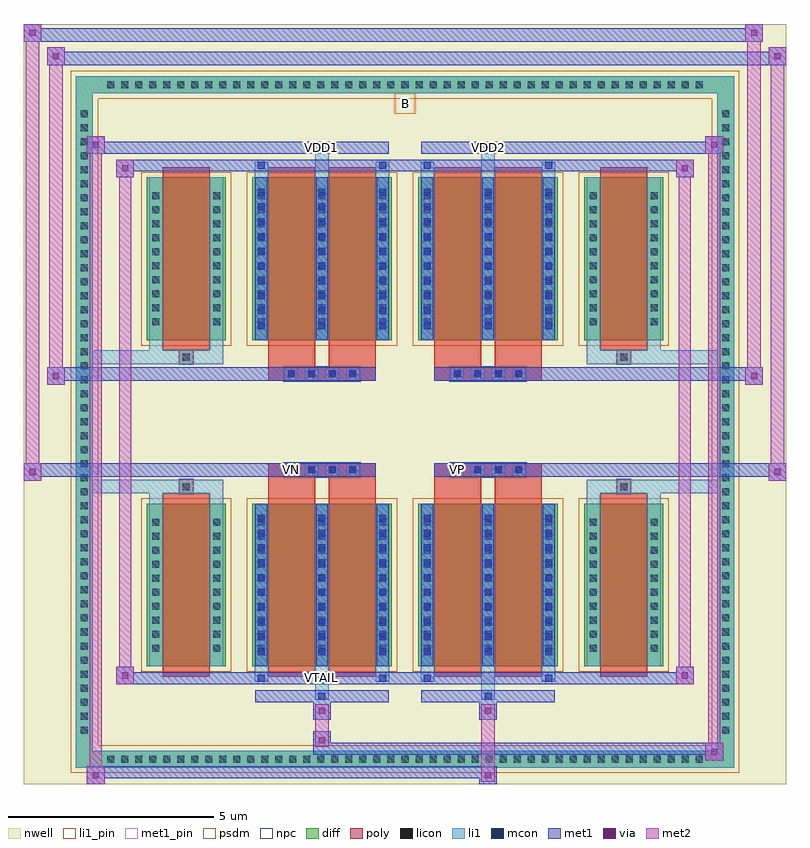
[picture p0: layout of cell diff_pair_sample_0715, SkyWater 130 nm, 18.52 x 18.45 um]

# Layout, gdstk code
import gdstk
lib = gdstk.Library(unit=1e-6, precision=5e-09)
def R(c, l, rs):  # rectangles x0, y0, x1, y1
    for r in rs: c.add(gdstk.rectangle(r[:2], r[2:], *l))
def A(c, l, x, y, w, h, nx, ny, dx, dy):  # array of equal rectangles
    R(c, l, [(x+i*dx, y+j*dy, x+i*dx+w, y+j*dy+h) for i in range(nx) for j in range(ny)])
def P(c, l, *ps):  # polygons
    for p in ps: c.add(gdstk.Polygon(p, *l))
nwell = (64, 20)
diff = (65, 20)
poly = (66, 20)
licon = (66, 44)
li1_pin = (67, 16)
li1 = (67, 20)
mcon = (67, 44)
met1_pin = (68, 16)
met1 = (68, 20)
via = (68, 44)
met2 = (69, 20)
psdm = (94, 20)
npc = (95, 20)

diff_pair_sample_0715 = lib.new_cell('diff_pair_sample_0715')
R(diff_pair_sample_0715, nwell, [(-9.26,-8.79,9.26,9.66), (-6.58,-6.98,-0.01,-0.8), (0.01,-6.98,6.58,-0.8), (-6.58,0.8,-0.01,6.98), (0.01,0.8,6.58,6.98)])
A(diff_pair_sample_0715, diff, -7.345, -8.39, 0.41, 0.41, 43, 2, 0.34, 16.37)
A(diff_pair_sample_0715, diff, -7.99, -7.685, 0.41, 0.41, 1, 45, 0, 0.34)
A(diff_pair_sample_0715, diff, 7.58, -7.685, 0.41, 0.41, 1, 45, 0, 0.34)
R(diff_pair_sample_0715, diff, [(-7.345,-8.39,7.345,-7.98), (-7.99,-7.685,-7.58,7.685), (7.58,-7.685,7.99,7.685), (-6.27,-5.935,-4.35,-1.985), (-3.71,-5.935,-0.32,-1.985), (0.32,-5.935,3.71,-1.985), (4.35,-5.935,6.27,-1.985), (-6.27,1.985,-4.35,5.935), (-3.71,1.985,-0.32,5.935), (0.32,1.985,3.71,5.935), (4.35,1.985,6.27,5.935), (-7.345,7.98,7.345,8.39)])
P(diff_pair_sample_0715, diff, [(7.99,8.39),(-7.99,8.39),(-7.99,-7.98),(-7.58,-7.98),(-7.58,7.98),(7.58,7.98),(7.58,-7.98),(-7.58,-7.98),(-7.99,-7.98),(-7.99,-8.39),(7.99,-8.39)])
A(diff_pair_sample_0715, poly, -2.93, -1.33, 0.33, 0.33, 4, 2, 0.5, 2.33)
A(diff_pair_sample_0715, poly, 1.1, -1.33, 0.33, 0.33, 4, 2, 0.5, 2.33)
R(diff_pair_sample_0715, poly, [(-5.88,-6.185,-4.74,-1.735), (-3.32,-6.185,-2.18,-1.735), (-1.85,-6.185,-0.71,-1.735), (0.71,-6.185,1.85,-1.735), (2.18,-6.185,3.32,-1.735), (4.74,-6.185,5.88,-1.735), (-5.475,-1.735,-5.145,-1.405), (-5.475,-1.735,-5.145,-1.405), (-3.32,-1.735,-2.18,-1.33), (-1.85,-1.735,-0.71,-1.33), (0.71,-1.735,1.85,-1.33), (2.18,-1.735,3.32,-1.33), (5.145,-1.735,5.475,-1.405), (5.145,-1.735,5.475,-1.405), (-3.32,-1.33,-0.71,-1), (0.71,-1.33,3.32,-1), (-3.32,1,-0.71,1.33), (0.71,1,3.32,1.33), (-3.32,1.33,-2.18,1.735), (-1.85,1.33,-0.71,1.735), (0.71,1.33,1.85,1.735), (2.18,1.33,3.32,1.735), (-5.475,1.405,-5.145,1.735), (-5.475,1.405,-5.145,1.735), (5.145,1.405,5.475,1.735), (5.145,1.405,5.475,1.735), (-5.88,1.735,-4.74,6.185), (-3.32,1.735,-2.18,6.185), (-1.85,1.735,-0.71,6.185), (0.71,1.735,1.85,6.185), (2.18,1.735,3.32,6.185), (4.74,1.735,5.88,6.185)])
A(diff_pair_sample_0715, licon, -7.225, -8.27, 0.17, 0.17, 43, 2, 0.34, 16.37)
A(diff_pair_sample_0715, licon, -7.87, -7.565, 0.17, 0.17, 1, 45, 0, 0.34)
A(diff_pair_sample_0715, licon, 7.7, -7.565, 0.17, 0.17, 1, 45, 0, 0.34)
A(diff_pair_sample_0715, licon, -6.13, -5.575, 0.17, 0.17, 1, 10, 0, 0.34)
A(diff_pair_sample_0715, licon, -4.66, -5.575, 0.17, 0.17, 1, 10, 0, 0.34)
A(diff_pair_sample_0715, licon, -3.57, -5.575, 0.17, 0.17, 3, 10, 1.47, 0.34)
A(diff_pair_sample_0715, licon, 0.46, -5.575, 0.17, 0.17, 3, 10, 1.47, 0.34)
A(diff_pair_sample_0715, licon, 4.49, -5.575, 0.17, 0.17, 1, 10, 0, 0.34)
A(diff_pair_sample_0715, licon, 5.96, -5.575, 0.17, 0.17, 1, 10, 0, 0.34)
A(diff_pair_sample_0715, licon, -2.85, -1.25, 0.17, 0.17, 4, 2, 0.5, 2.33)
A(diff_pair_sample_0715, licon, 1.18, -1.25, 0.17, 0.17, 4, 2, 0.5, 2.33)
A(diff_pair_sample_0715, licon, -6.13, 2.345, 0.17, 0.17, 1, 10, 0, 0.34)
A(diff_pair_sample_0715, licon, -4.66, 2.345, 0.17, 0.17, 1, 10, 0, 0.34)
A(diff_pair_sample_0715, licon, -3.57, 2.345, 0.17, 0.17, 3, 10, 1.47, 0.34)
A(diff_pair_sample_0715, licon, 0.46, 2.345, 0.17, 0.17, 3, 10, 1.47, 0.34)
A(diff_pair_sample_0715, licon, 4.49, 2.345, 0.17, 0.17, 1, 10, 0, 0.34)
A(diff_pair_sample_0715, licon, 5.96, 2.345, 0.17, 0.17, 1, 10, 0, 0.34)
R(diff_pair_sample_0715, licon, [(-5.395,-1.655,-5.225,-1.485), (5.225,-1.655,5.395,-1.485), (-5.395,1.485,-5.225,1.655), (5.225,1.485,5.395,1.655)])
R(diff_pair_sample_0715, li1_pin, [(-0.25,7.48,0.25,7.98)])
A(diff_pair_sample_0715, li1, -7.305, -8.35, 0.33, 0.33, 43, 2, 0.34, 16.37)
A(diff_pair_sample_0715, li1, -7.95, -7.645, 0.33, 0.33, 1, 45, 0, 0.34)
A(diff_pair_sample_0715, li1, 7.62, -7.645, 0.33, 0.33, 1, 45, 0, 0.34)
A(diff_pair_sample_0715, li1, -3.65, -5.935, 0.33, 3.95, 3, 2, 1.47, 7.92)
A(diff_pair_sample_0715, li1, 0.38, -5.935, 0.33, 3.95, 3, 2, 1.47, 7.92)
A(diff_pair_sample_0715, li1, -3.57, -5.665, 0.17, 0.17, 3, 10, 1.47, 0.36)
A(diff_pair_sample_0715, li1, -3.57, -5.665, 0.17, 3.41, 3, 2, 1.47, 7.92)
A(diff_pair_sample_0715, li1, 0.46, -5.665, 0.17, 0.17, 3, 10, 1.47, 0.36)
A(diff_pair_sample_0715, li1, 0.46, -5.665, 0.17, 3.41, 3, 2, 1.47, 7.92)
A(diff_pair_sample_0715, li1, -6.21, -5.655, 0.33, 0.33, 1, 10, 0, 0.34)
A(diff_pair_sample_0715, li1, -4.74, -5.655, 0.33, 0.33, 1, 10, 0, 0.34)
A(diff_pair_sample_0715, li1, -3.65, -5.655, 0.33, 0.33, 3, 10, 1.47, 0.34)
A(diff_pair_sample_0715, li1, 0.38, -5.655, 0.33, 0.33, 3, 10, 1.47, 0.34)
A(diff_pair_sample_0715, li1, 4.41, -5.655, 0.33, 0.33, 1, 10, 0, 0.34)
A(diff_pair_sample_0715, li1, 5.88, -5.655, 0.33, 0.33, 1, 10, 0, 0.34)
A(diff_pair_sample_0715, li1, -2.93, -1.33, 0.33, 0.33, 4, 2, 0.5, 2.33)
A(diff_pair_sample_0715, li1, 1.1, -1.33, 0.33, 0.33, 4, 2, 0.5, 2.33)
A(diff_pair_sample_0715, li1, -3.57, 2.255, 0.17, 0.17, 3, 10, 1.47, 0.36)
A(diff_pair_sample_0715, li1, 0.46, 2.255, 0.17, 0.17, 3, 10, 1.47, 0.36)
A(diff_pair_sample_0715, li1, -6.21, 2.265, 0.33, 0.33, 1, 10, 0, 0.34)
A(diff_pair_sample_0715, li1, -4.74, 2.265, 0.33, 0.33, 1, 10, 0, 0.34)
A(diff_pair_sample_0715, li1, -3.65, 2.265, 0.33, 0.33, 3, 10, 1.47, 0.34)
A(diff_pair_sample_0715, li1, 0.38, 2.265, 0.33, 0.33, 3, 10, 1.47, 0.34)
A(diff_pair_sample_0715, li1, 4.41, 2.265, 0.33, 0.33, 1, 10, 0, 0.34)
A(diff_pair_sample_0715, li1, 5.88, 2.265, 0.33, 0.33, 1, 10, 0, 0.34)
R(diff_pair_sample_0715, li1, [(-7.99,-8.39,-7.58,-7.98), (-7.99,-8.39,-7.58,-7.98), (-7.58,-8.39,7.58,-7.98), (7.58,-8.39,7.99,-7.98), (7.58,-8.39,7.99,-7.98), (-7.99,-7.98,-7.58,7.98), (7.58,-7.98,7.99,7.98), (-2.18,-6.74,-1.85,-5.935), (-2.1,-6.74,-1.93,-6.57), (1.85,-6.74,2.18,-5.935), (1.93,-6.74,2.1,-6.57), (-3.65,-6.31,-3.32,-5.935), (-3.57,-6.31,-3.4,-6.14), (-0.71,-6.31,-0.38,-5.935), (-0.63,-6.31,-0.46,-6.14), (0.38,-6.31,0.71,-5.935), (0.46,-6.31,0.63,-6.14), (3.32,-6.31,3.65,-5.935), (3.4,-6.31,3.57,-6.14), (-6.21,-5.935,-5.88,-1.985), (-4.74,-5.935,-4.41,-1.985), (4.41,-5.935,4.74,-1.985), (5.88,-5.935,6.21,-1.985), (-6.21,-1.985,-5.88,-1.405), (-4.74,-1.985,-4.41,-1.405), (4.41,-1.985,4.74,-1.405), (5.88,-1.985,6.21,-1.405), (-7.99,-1.735,-5.475,-1.405), (-6.21,-1.735,-5.475,-1.405), (-5.475,-1.735,-5.145,-1.405), (-5.145,-1.735,-4.41,-1.405), (4.41,-1.735,5.145,-1.405), (5.145,-1.735,5.475,-1.405), (5.145,-1.735,7.99,-1.405), (5.475,-1.735,6.21,-1.405), (-7.99,1.405,-5.475,1.735), (-6.21,1.405,-5.475,1.735), (-6.21,1.405,-5.88,1.985), (-5.475,1.405,-5.145,1.735), (-5.145,1.405,-4.41,1.735), (-4.74,1.405,-4.41,1.985), (4.41,1.405,5.145,1.735), (4.41,1.405,4.74,1.985), (5.145,1.405,5.475,1.735), (5.145,1.405,7.99,1.735), (5.475,1.405,6.21,1.735), (5.88,1.405,6.21,1.985), (-6.21,1.985,-5.88,5.935), (-4.74,1.985,-4.41,5.935), (4.41,1.985,4.74,5.935), (5.88,1.985,6.21,5.935), (-3.65,5.935,-3.32,6.31), (-2.18,5.935,-1.85,6.74), (-0.71,5.935,-0.38,6.31), (0.38,5.935,0.71,6.31), (1.85,5.935,2.18,6.74), (3.32,5.935,3.65,6.31), (-3.57,6.14,-3.4,6.31), (-0.63,6.14,-0.46,6.31), (0.46,6.14,0.63,6.31), (3.4,6.14,3.57,6.31), (-2.1,6.57,-1.93,6.74), (1.93,6.57,2.1,6.74), (-7.99,7.98,-7.58,8.39), (-7.99,7.98,-7.58,8.39), (-7.58,7.98,7.58,8.39), (7.58,7.98,7.99,8.39), (7.58,7.98,7.99,8.39)])
A(diff_pair_sample_0715, mcon, -3.57, -5.665, 0.17, 0.17, 3, 10, 1.47, 0.36)
A(diff_pair_sample_0715, mcon, 0.46, -5.665, 0.17, 0.17, 3, 10, 1.47, 0.36)
A(diff_pair_sample_0715, mcon, -2.85, -1.25, 0.17, 0.17, 4, 2, 0.5, 2.33)
A(diff_pair_sample_0715, mcon, 1.18, -1.25, 0.17, 0.17, 4, 2, 0.5, 2.33)
A(diff_pair_sample_0715, mcon, -3.57, 2.255, 0.17, 0.17, 3, 10, 1.47, 0.36)
A(diff_pair_sample_0715, mcon, 0.46, 2.255, 0.17, 0.17, 3, 10, 1.47, 0.36)
R(diff_pair_sample_0715, mcon, [(-2.1,-6.74,-1.93,-6.57), (1.93,-6.74,2.1,-6.57), (-3.57,-6.31,-3.4,-6.14), (-0.63,-6.31,-0.46,-6.14), (0.46,-6.31,0.63,-6.14), (3.4,-6.31,3.57,-6.14), (-3.57,6.14,-3.4,6.31), (-0.63,6.14,-0.46,6.31), (0.46,6.14,0.63,6.31), (3.4,6.14,3.57,6.31), (-2.1,6.57,-1.93,6.74), (1.93,6.57,2.1,6.74)])
R(diff_pair_sample_0715, met1_pin, [(-2.15,-6.35,-1.88,-6.08), (-2.9,-1.29,-2.63,-1.02), (1.13,-1.29,1.4,-1.02), (-2.15,6.53,-1.88,6.8), (1.88,6.53,2.15,6.8)])
A(diff_pair_sample_0715, met1, -3.63, -5.935, 0.29, 3.95, 3, 2, 1.47, 7.92)
A(diff_pair_sample_0715, met1, 0.4, -5.935, 0.29, 3.95, 3, 2, 1.47, 7.92)
A(diff_pair_sample_0715, met1, -3.63, -5.725, 0.29, 0.29, 3, 10, 1.47, 0.36)
A(diff_pair_sample_0715, met1, 0.4, -5.725, 0.29, 0.29, 3, 10, 1.47, 0.36)
A(diff_pair_sample_0715, met1, -2.91, -1.31, 0.29, 0.29, 4, 2, 0.5, 2.33)
A(diff_pair_sample_0715, met1, 1.12, -1.31, 0.29, 0.29, 4, 2, 0.5, 2.33)
A(diff_pair_sample_0715, met1, -3.63, 2.195, 0.29, 0.29, 3, 10, 1.47, 0.36)
A(diff_pair_sample_0715, met1, 0.4, 2.195, 0.29, 0.29, 3, 10, 1.47, 0.36)
R(diff_pair_sample_0715, met1, [(-7.72,-8.79,-7.29,-8.36), (1.8,-8.79,2.23,-8.36), (-7.72,-8.65,2.23,-8.36), (7.29,-8.22,7.72,-7.79), (-2.23,-8.08,7.72,-7.79), (-2.23,-7.94,-1.8,-7.51), (-2.23,-7.23,-1.8,-6.8), (1.8,-7.23,2.23,-6.8), (-3.63,-6.8,-0.4,-6.51), (-2.16,-6.8,-1.87,-6.51), (0.4,-6.8,3.63,-6.51), (1.87,-6.8,2.16,-6.51), (-7.01,-6.37,-6.58,-5.94), (-7.01,-6.37,-3.63,-6.08), (-3.63,-6.37,-3.34,-6.08), (-3.63,-6.37,-0.4,-6.08), (-0.69,-6.37,-0.4,-6.08), (-0.4,-6.37,0.4,-6.08), (0.4,-6.37,0.69,-6.08), (0.4,-6.37,3.63,-6.08), (3.34,-6.37,3.63,-6.08), (3.63,-6.37,7.01,-6.08), (6.58,-6.37,7.01,-5.94), (-9.26,-1.43,-8.83,-1), (8.83,-1.43,9.26,-1), (-9.26,-1.33,-0.71,-1), (-3.32,-1.33,-0.71,-1), (0.71,-1.33,3.32,-1), (0.71,-1.33,9.26,-1), (-8.69,0.9,-8.26,1.33), (8.26,0.9,8.69,1.33), (-8.69,1,-3.32,1.33), (-3.32,1,-0.71,1.33), (0.71,1,3.32,1.33), (3.32,1,8.69,1.33), (-7.01,5.94,-6.58,6.37), (6.58,5.94,7.01,6.37), (-7.01,6.08,-3.63,6.37), (-3.63,6.08,-3.34,6.37), (-3.63,6.08,-0.4,6.37), (-0.69,6.08,-0.4,6.37), (-0.4,6.08,0.4,6.37), (0.4,6.08,0.69,6.37), (0.4,6.08,3.63,6.37), (3.34,6.08,3.63,6.37), (3.63,6.08,7.01,6.37), (-7.72,6.51,-7.29,6.94), (-7.72,6.51,-3.63,6.8), (-3.63,6.51,-0.4,6.8), (-2.16,6.51,-1.87,6.8), (0.4,6.51,3.63,6.8), (1.87,6.51,2.16,6.8), (3.63,6.51,7.72,6.8), (7.29,6.51,7.72,6.94), (-8.69,8.66,-8.26,9.09), (-8.69,8.66,-6.58,8.99), (-6.58,8.66,6.58,8.99), (6.58,8.66,9.26,8.99), (8.83,8.66,9.26,9.09), (-9.26,9.23,-8.83,9.66), (-9.26,9.23,-6.58,9.56), (-6.58,9.23,6.58,9.56), (6.58,9.23,8.69,9.56), (8.26,9.23,8.69,9.66)])
R(diff_pair_sample_0715, via, [(-7.58,-8.65,-7.43,-8.5), (1.94,-8.65,2.09,-8.5), (7.43,-8.08,7.58,-7.93), (-2.09,-7.8,-1.94,-7.65), (-2.09,-7.09,-1.94,-6.94), (1.94,-7.09,2.09,-6.94), (-6.87,-6.23,-6.72,-6.08), (6.72,-6.23,6.87,-6.08), (-9.12,-1.29,-8.97,-1.14), (8.97,-1.29,9.12,-1.14), (-8.55,1.04,-8.4,1.19), (8.4,1.04,8.55,1.19), (-6.87,6.08,-6.72,6.23), (6.72,6.08,6.87,6.23), (-7.58,6.65,-7.43,6.8), (7.43,6.65,7.58,6.8), (-8.55,8.8,-8.4,8.95), (8.97,8.8,9.12,8.95), (-9.12,9.37,-8.97,9.52), (8.4,9.37,8.55,9.52)])
R(diff_pair_sample_0715, met2, [(-7.72,-8.79,-7.29,-8.36), (-7.65,-8.79,-7.36,6.94), (-7.36,-8.79,-7.29,-8.36), (-7.67,-8.74,-7.34,-8.41), (1.85,-8.74,2.18,-8.41), (1.85,-8.41,2.18,-7.18), (7.29,-8.22,7.72,-7.79), (7.36,-8.22,7.65,6.94), (7.65,-8.22,7.72,-7.79), (7.34,-8.17,7.67,-7.84), (-2.18,-7.89,-1.85,-7.56), (-2.18,-7.56,-1.85,-7.18), (-2.18,-7.18,-1.85,-6.85), (1.85,-7.18,2.18,-6.85), (-7.01,-6.37,-6.58,-5.94), (-6.94,-6.37,-6.65,6.37), (-6.65,-6.37,-6.58,-5.94), (6.58,-6.37,7.01,-5.94), (6.65,-6.37,6.94,6.37), (6.94,-6.37,7.01,-5.94), (-6.96,-6.32,-6.63,-5.99), (6.63,-6.32,6.96,-5.99), (-9.26,-1.43,-8.83,-1), (-9.21,-1.43,-8.88,9.66), (-8.88,-1.43,-8.83,-1), (8.83,-1.43,9.26,-1), (8.88,-1.43,9.21,9.09), (9.21,-1.43,9.26,-1), (-9.21,-1.38,-8.88,-1.05), (8.88,-1.38,9.21,-1.05), (-8.69,0.9,-8.26,1.33), (-8.64,0.9,-8.31,9.09), (-8.31,0.9,-8.26,1.33), (8.26,0.9,8.69,1.33), (8.31,0.9,8.64,9.66), (8.64,0.9,8.69,1.33), (-8.64,0.95,-8.31,1.28), (8.31,0.95,8.64,1.28), (-7.01,5.94,-6.58,6.37), (-6.65,5.94,-6.58,6.37), (6.58,5.94,7.01,6.37), (6.94,5.94,7.01,6.37), (-6.96,5.99,-6.63,6.32), (6.63,5.99,6.96,6.32), (-7.72,6.51,-7.29,6.94), (-7.36,6.51,-7.29,6.94), (7.29,6.51,7.72,6.94), (7.65,6.51,7.72,6.94), (-7.67,6.56,-7.34,6.89), (7.34,6.56,7.67,6.89), (-8.69,8.66,-8.26,9.09), (-8.31,8.66,-8.26,9.09), (8.83,8.66,9.26,9.09), (9.21,8.66,9.26,9.09), (-8.64,8.71,-8.31,9.04), (8.88,8.71,9.21,9.04), (-9.26,9.23,-8.83,9.66), (-8.88,9.23,-8.83,9.66), (8.26,9.23,8.69,9.66), (8.64,9.23,8.69,9.66), (-9.21,9.28,-8.88,9.61), (8.31,9.28,8.64,9.61)])
R(diff_pair_sample_0715, psdm, [(-6.4,-6.065,-4.22,-1.855), (-3.84,-6.065,-0.19,-1.855), (0.19,-6.065,3.84,-1.855), (4.22,-6.065,6.4,-1.855), (-6.4,1.855,-4.22,6.065), (-3.84,1.855,-0.19,6.065), (0.19,1.855,3.84,6.065), (4.22,1.855,6.4,6.065)])
P(diff_pair_sample_0715, psdm, [(8.12,8.52),(-8.12,8.52),(-8.12,-7.85),(-7.45,-7.85),(-7.45,7.85),(7.45,7.85),(7.45,-7.85),(-7.45,-7.85),(-8.12,-7.85),(-8.12,-8.52),(8.12,-8.52)])
A(diff_pair_sample_0715, npc, -2.95, -1.35, 0.37, 0.37, 4, 2, 0.5, 2.33)
A(diff_pair_sample_0715, npc, 1.08, -1.35, 0.37, 0.37, 4, 2, 0.5, 2.33)
R(diff_pair_sample_0715, npc, [(-5.495,-1.755,-5.125,-1.385), (5.125,-1.755,5.495,-1.385), (-2.95,-1.35,-2.08,-0.98), (-2.95,-1.35,-2.08,-0.98), (-2.45,-1.35,-1.58,-0.98), (-2.45,-1.35,-1.58,-0.98), (-1.95,-1.35,-1.08,-0.98), (-1.95,-1.35,-1.08,-0.98), (1.08,-1.35,1.95,-0.98), (1.08,-1.35,1.95,-0.98), (1.58,-1.35,2.45,-0.98), (1.58,-1.35,2.45,-0.98), (2.08,-1.35,2.95,-0.98), (2.08,-1.35,2.95,-0.98), (-2.95,0.98,-2.08,1.35), (-2.95,0.98,-2.08,1.35), (-2.45,0.98,-1.58,1.35), (-2.45,0.98,-1.58,1.35), (-1.95,0.98,-1.08,1.35), (-1.95,0.98,-1.08,1.35), (1.08,0.98,1.95,1.35), (1.08,0.98,1.95,1.35), (1.58,0.98,2.45,1.35), (1.58,0.98,2.45,1.35), (2.08,0.98,2.95,1.35), (2.08,0.98,2.95,1.35), (-5.495,1.385,-5.125,1.755), (5.125,1.385,5.495,1.755)])
diff_pair_sample_0715.add(gdstk.Label('VTAIL', (-2.015,-6.215), layer=68, texttype=5))
diff_pair_sample_0715.add(gdstk.Label('VN', (-2.765,-1.155), layer=68, texttype=5))
diff_pair_sample_0715.add(gdstk.Label('VP', (1.265,-1.155), layer=68, texttype=5))
diff_pair_sample_0715.add(gdstk.Label('B', (0,7.73), layer=67, texttype=5))
diff_pair_sample_0715.add(gdstk.Label('VDD2', (2.015,6.665), layer=68, texttype=5))
diff_pair_sample_0715.add(gdstk.Label('VDD1', (-2.015,6.665), layer=68, texttype=5))

lib.write_gds('diff_pair_sample_0715.gds')
